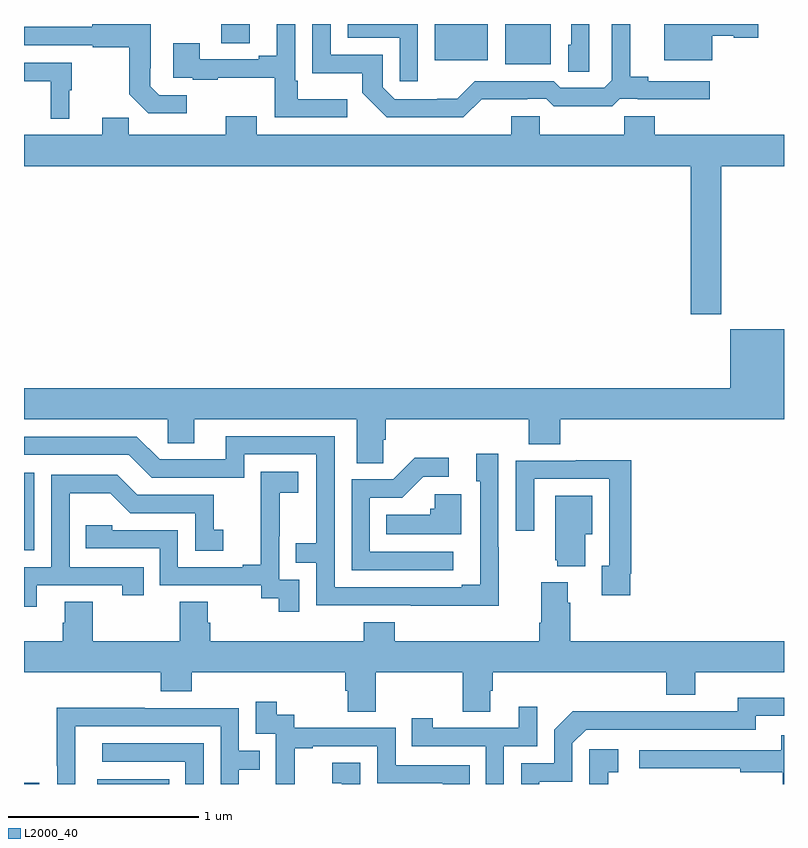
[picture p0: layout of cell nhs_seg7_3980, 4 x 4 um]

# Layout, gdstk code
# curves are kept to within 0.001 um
import gdstk
lib = gdstk.Library(unit=1e-6, precision=1e-09)
def R(c, l, rs):  # rectangles x0, y0, x1, y1
    for r in rs: c.add(gdstk.rectangle(r[:2], r[2:], *l))
def P(c, l, *ps):  # polygons
    for p in ps: c.add(gdstk.Polygon(p, *l))
L2000_40 = (2000, 40)

nhs_seg7_3980 = lib.new_cell('nhs_seg7_3980')
R(nhs_seg7_3980, L2000_40, [(363,1028,363.081,1028.007), (363.386,1028,363.764,1028.026), (363,1029.231,363.054,1029.637), (365.534,1031.789,365.773,1032), (365.162,1031.81,365.44,1032), (364.037,1031.899,364.189,1032)])
P(nhs_seg7_3980, L2000_40, [(363.856,1031.625),(363.711,1031.625),(363.664,1031.672),(363.664,1031.767),(363.666,1031.767),(363.666,1032),(363.359,1032),(363.359,1031.985),(363,1031.985),(363,1031.889),(363.363,1031.889),(363.363,1031.877),(363.555,1031.877),(363.555,1031.631),(363.655,1031.531),(363.856,1031.531)],
  [(364.702,1031.605),(364.441,1031.605),(364.441,1031.701),(364.428,1031.701),(364.428,1032),(364.331,1032),(364.331,1031.833),(364.235,1031.833),(364.235,1031.814),(363.925,1031.814),(363.925,1031.899),(363.785,1031.899),(363.785,1031.718),(363.889,1031.718),(363.889,1031.706),(364.021,1031.706),(364.021,1031.717),(364.32,1031.717),(364.32,1031.508),(364.702,1031.508)],
  [(366.622,1031.939),(366.735,1031.939),(366.735,1031.927),(366.865,1031.927),(366.865,1032),(366.371,1032),(366.371,1031.81),(366.622,1031.81)],
  [(365.976,1032),(365.88,1032),(365.88,1031.892),(365.864,1031.892),(365.864,1031.749),(365.976,1031.749)],
  [(365.408,1031.603),(365.648,1031.603),(365.648,1031.607),(365.748,1031.607),(365.788,1031.568),(366.095,1031.568),(366.135,1031.607),(366.229,1031.607),(366.229,1031.603),(366.61,1031.603),(366.61,1031.7),(366.286,1031.7),(366.286,1031.723),(366.191,1031.723),(366.191,1032),(366.093,1032),(366.093,1031.703),(366.054,1031.664),(365.823,1031.664),(365.787,1031.7),(365.373,1031.7),(365.279,1031.606),(365.174,1031.606),(365.174,1031.604),(364.95,1031.604),(364.887,1031.667),(364.887,1031.838),(364.614,1031.838),(364.614,1032),(364.518,1032),(364.518,1031.741),(364.78,1031.741),(364.78,1031.639),(364.91,1031.508),(365.313,1031.508)],
  [(365.073,1032),(364.704,1032),(364.704,1031.928),(364.977,1031.928),(364.977,1031.7),(365.073,1031.7)],
  [(363.238,1031.652),(363.25,1031.652),(363.25,1031.796),(363,1031.796),(363,1031.7),(363.14,1031.7),(363.14,1031.501),(363.238,1031.501)],
  [(366.669,1031.252),(367,1031.252),(367,1031.416),(366.32,1031.416),(366.32,1031.514),(366.16,1031.514),(366.16,1031.416),(365.715,1031.416),(365.715,1031.514),(365.564,1031.514),(365.564,1031.416),(364.225,1031.416),(364.225,1031.515),(364.061,1031.515),(364.061,1031.416),(363.551,1031.416),(363.551,1031.507),(363.413,1031.507),(363.413,1031.416),(363,1031.416),(363,1031.252),(366.509,1031.252),(366.509,1030.473),(366.669,1030.473)],
  [(364.89,1029.811),(364.904,1029.811),(364.904,1029.92),(365.657,1029.92),(365.657,1029.787),(365.822,1029.787),(365.822,1029.92),(367,1029.92),(367,1030.393),(366.716,1030.393),(366.716,1030.084),(363,1030.084),(363,1029.92),(363.756,1029.92),(363.756,1029.793),(363.895,1029.793),(363.895,1029.92),(364.751,1029.92),(364.751,1029.688),(364.89,1029.688)],
  [(365.499,1029.245),(365.496,1029.245),(365.496,1029.739),(365.381,1029.739),(365.381,1029.594),(365.4,1029.594),(365.4,1029.049),(365.303,1029.049),(365.303,1029.036),(364.635,1029.036),(364.635,1029.831),(364.061,1029.831),(364.061,1029.708),(363.714,1029.708),(363.594,1029.828),(363,1029.828),(363,1029.732),(363.552,1029.732),(363.672,1029.612),(364.158,1029.612),(364.158,1029.735),(364.539,1029.735),(364.539,1029.266),(364.429,1029.266),(364.429,1029.165),(364.539,1029.165),(364.539,1028.94),(365.499,1028.939)],
  [(365.26,1029.222),(364.821,1029.222),(364.821,1029.507),(364.99,1029.507),(365.101,1029.618),(365.236,1029.618),(365.236,1029.716),(365.057,1029.716),(364.944,1029.603),(364.725,1029.603),(364.725,1029.126),(365.26,1029.126)],
  [(366.19,1029.106),(366.197,1029.106),(366.197,1029.704),(365.905,1029.704),(365.905,1029.702),(365.589,1029.702),(365.589,1029.333),(365.685,1029.333),(365.685,1029.606),(366.081,1029.606),(366.081,1029.15),(366.041,1029.15),(366.041,1028.994),(366.19,1028.994)],
  [(364.449,1029.075),(364.344,1029.075),(364.344,1029.305),(364.346,1029.305),(364.346,1029.533),(364.444,1029.533),(364.444,1029.643),(364.246,1029.643),(364.246,1029.437),(364.247,1029.437),(364.247,1029.154),(364.151,1029.154),(364.151,1029.141),(363.81,1029.141),(363.81,1029.336),(363.465,1029.336),(363.465,1029.363),(363.325,1029.363),(363.325,1029.24),(363.714,1029.24),(363.714,1029.045),(364.248,1029.045),(364.248,1028.977),(364.341,1028.977),(364.341,1028.907),(364.449,1028.907)],
  [(363.067,1029.045),(363.518,1029.045),(363.518,1028.994),(363.629,1028.994),(363.629,1029.141),(363.24,1029.141),(363.24,1029.53),(363.454,1029.53),(363.558,1029.426),(363.9,1029.426),(363.9,1029.228),(364.048,1029.228),(364.048,1029.337),(363.999,1029.337),(363.999,1029.522),(363.595,1029.522),(363.49,1029.627),(363.144,1029.627),(363.144,1029.141),(363,1029.141),(363,1028.934),(363.067,1028.934)],
  [(365.302,1029.526),(365.163,1029.526),(365.163,1029.45),(365.137,1029.45),(365.137,1029.418),(364.906,1029.418),(364.906,1029.314),(365.302,1029.314)],
  [(365.953,1029.314),(365.992,1029.314),(365.992,1029.517),(365.795,1029.517),(365.795,1029.177),(365.807,1029.177),(365.807,1029.146),(365.953,1029.146)],
  [(364.851,1028.588),(365.308,1028.588),(365.308,1028.38),(365.455,1028.38),(365.455,1028.49),(365.468,1028.49),(365.468,1028.588),(366.38,1028.588),(366.38,1028.471),(366.532,1028.471),(366.532,1028.588),(367,1028.588),(367,1028.752),(365.876,1028.752),(365.876,1028.954),(365.863,1028.954),(365.863,1029.061),(365.723,1029.061),(365.723,1028.848),(365.711,1028.848),(365.711,1028.752),(364.952,1028.752),(364.952,1028.851),(364.787,1028.851),(364.787,1028.752),(363.98,1028.752),(363.98,1028.85),(363.967,1028.85),(363.967,1028.96),(363.82,1028.96),(363.82,1028.752),(363.363,1028.752),(363.363,1028.96),(363.215,1028.96),(363.215,1028.85),(363.203,1028.85),(363.203,1028.752),(363,1028.752),(363,1028.588),(363.719,1028.588),(363.719,1028.489),(363.884,1028.489),(363.884,1028.588),(364.691,1028.588),(364.691,1028.49),(364.703,1028.49),(364.703,1028.38),(364.851,1028.38)],
  [(365.713,1028.013),(365.886,1028.013),(365.886,1028.214),(365.958,1028.286),(366.852,1028.286),(366.852,1028.358),(367,1028.358),(367,1028.455),(366.756,1028.455),(366.756,1028.382),(366.296,1028.382),(366.296,1028.384),(365.888,1028.384),(365.79,1028.286),(365.79,1028.109),(365.616,1028.109),(365.616,1028),(365.713,1028)],
  [(364.424,1028.187),(364.519,1028.187),(364.519,1028.199),(364.86,1028.199),(364.86,1028.004),(365.205,1028.004),(365.205,1028),(365.345,1028),(365.345,1028.1),(364.956,1028.1),(364.956,1028.295),(364.422,1028.295),(364.422,1028.364),(364.33,1028.364),(364.33,1028.434),(364.221,1028.434),(364.221,1028.265),(364.326,1028.265),(364.326,1028.036),(364.325,1028.036),(364.325,1028),(364.424,1028)],
  [(365.526,1028.199),(365.7,1028.199),(365.7,1028.407),(365.603,1028.407),(365.603,1028.295),(365.152,1028.295),(365.152,1028.347),(365.041,1028.347),(365.041,1028.199),(365.43,1028.199),(365.43,1028),(365.526,1028)],
  [(363.27,1028.304),(364.035,1028.304),(364.035,1028),(364.131,1028),(364.131,1028.074),(364.241,1028.074),(364.241,1028.175),(364.131,1028.175),(364.131,1028.4),(363.635,1028.4),(363.635,1028.402),(363.172,1028.402),(363.172,1028.095),(363.174,1028.095),(363.174,1028),(363.27,1028)],
  [(367,1028.257),(366.985,1028.257),(366.985,1028.178),(366.237,1028.178),(366.237,1028.082),(366.769,1028.082),(366.769,1028.062),(366.993,1028.062),(366.993,1028),(367,1028)],
  [(363.945,1028.214),(363.411,1028.214),(363.411,1028.118),(363.849,1028.118),(363.849,1028),(363.945,1028)],
  [(366.074,1028.061),(366.127,1028.061),(366.127,1028.182),(365.976,1028.182),(365.976,1028),(366.074,1028)],
  [(364.77,1028.113),(364.623,1028.113),(364.623,1028.003),(364.672,1028.003),(364.672,1028),(364.77,1028)])

lib.write_gds('nhs_seg7_3980.gds')
